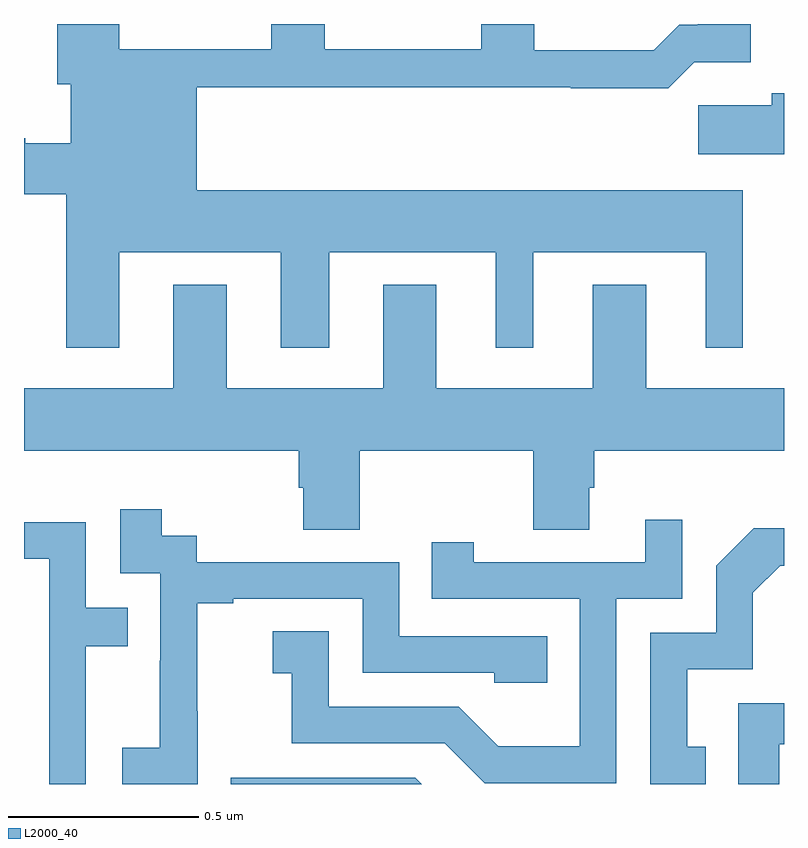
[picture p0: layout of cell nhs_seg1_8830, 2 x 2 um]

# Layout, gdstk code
import gdstk
lib = gdstk.Library(unit=1e-6, precision=1e-09)
def P(c, l, *ps):  # polygons
    for p in ps: c.add(gdstk.Polygon(p, *l))
L2000_40 = (2000, 40)

nhs_seg1_8830 = lib.new_cell('nhs_seg1_8830')
P(nhs_seg1_8830, L2000_40, [(221.251,541.598),(221.675,541.598),(221.675,541.347),(221.803,541.347),(221.803,541.598),(222.242,541.598),(222.242,541.347),(222.34,541.347),(222.34,541.598),(222.794,541.598),(222.794,541.347),(222.892,541.347),(222.892,541.762),(221.455,541.762),(221.455,542.032),(222.439,542.032),(222.439,542.03),(222.695,542.03),(222.764,542.099),(222.913,542.099),(222.913,542.199),(222.773,542.199),(222.773,542.197),(222.724,542.197),(222.657,542.13),(222.343,542.13),(222.343,542.199),(222.203,542.199),(222.203,542.133),(221.791,542.133),(221.791,542.199),(221.651,542.199),(221.651,542.133),(221.251,542.133),(221.251,542.199),(221.087,542.199),(221.087,542.04),(221.123,542.04),(221.123,541.885),(221.003,541.885),(221.003,541.898),(221,541.898),(221,541.751),(221.111,541.751),(221.111,541.347),(221.251,541.347)],
  [(223,542.017),(222.968,542.017),(222.968,541.985),(222.774,541.985),(222.774,541.856),(223,541.856)],
  [(221.883,541.076),(222.34,541.076),(222.34,540.868),(222.487,540.868),(222.487,540.978),(222.5,540.978),(222.5,541.076),(223,541.076),(223,541.24),(222.637,541.24),(222.637,541.513),(222.497,541.513),(222.497,541.24),(222.085,541.24),(222.085,541.513),(221.945,541.513),(221.945,541.24),(221.533,541.24),(221.533,541.513),(221.393,541.513),(221.393,541.24),(221,541.24),(221,541.076),(221.723,541.076),(221.723,540.978),(221.735,540.978),(221.735,540.868),(221.883,540.868)],
  [(221.457,540.391),(221.456,540.391),(221.456,540.675),(221.551,540.675),(221.551,540.687),(221.892,540.687),(221.892,540.492),(222.237,540.492),(222.237,540.465),(222.377,540.465),(222.377,540.588),(221.988,540.588),(221.988,540.783),(221.454,540.783),(221.454,540.852),(221.362,540.852),(221.362,540.922),(221.253,540.922),(221.253,540.753),(221.358,540.753),(221.358,540.524),(221.357,540.524),(221.357,540.295),(221.259,540.295),(221.259,540.199),(221.457,540.199)],
  [(222.558,540.687),(222.732,540.687),(222.732,540.895),(222.635,540.895),(222.635,540.783),(222.184,540.783),(222.184,540.835),(222.073,540.835),(222.073,540.687),(222.462,540.687),(222.462,540.298),(222.248,540.298),(222.144,540.402),(221.802,540.402),(221.802,540.601),(221.655,540.601),(221.655,540.491),(221.704,540.491),(221.704,540.306),(222.107,540.306),(222.212,540.201),(222.558,540.201)],
  [(221.163,540.562),(221.273,540.562),(221.273,540.663),(221.163,540.663),(221.163,540.888),(221,540.888),(221,540.792),(221.067,540.792),(221.067,540.199),(221.163,540.199)],
  [(222.794,540.297),(222.745,540.297),(222.745,540.501),(222.918,540.501),(222.918,540.702),(222.99,540.774),(223,540.774),(223,540.872),(222.92,540.872),(222.822,540.774),(222.822,540.597),(222.648,540.597),(222.648,540.199),(222.794,540.199)],
  [(222.988,540.303),(223,540.303),(223,540.411),(222.879,540.411),(222.879,540.199),(222.988,540.199)],
  [(222.03,540.216),(221.544,540.216),(221.544,540.199),(222.047,540.199)])

lib.write_gds('nhs_seg1_8830.gds')
